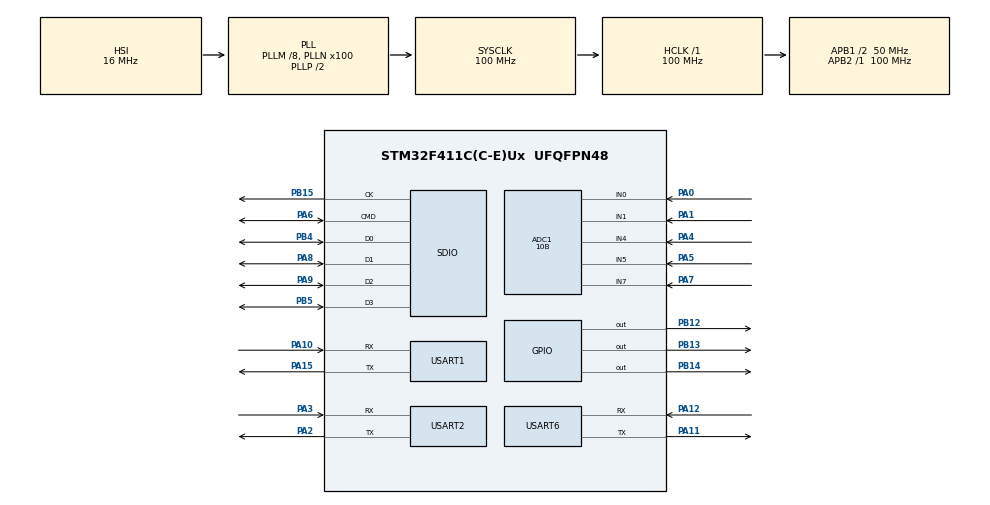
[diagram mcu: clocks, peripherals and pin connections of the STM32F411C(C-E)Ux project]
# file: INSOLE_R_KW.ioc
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ADC1.Channel-10\#ChannelRegularConversion=ADC_CHANNEL_1
ADC1.Channel-12\#ChannelRegularConversion=ADC_CHANNEL_4
ADC1.Channel-13\#ChannelRegularConversion=ADC_CHANNEL_5
ADC1.Channel-14\#ChannelRegularConversion=ADC_CHANNEL_7
ADC1.Channel-5\#ChannelRegularConversion=ADC_CHANNEL_0
ADC1.ContinuousConvMode=ENABLE
ADC1.DMAContinuousRequests=ENABLE
ADC1.InjNumberOfConversion=0
ADC1.NbrOfConversion=5
ADC1.NbrOfConversionFlag=1
ADC1.Rank-10\#ChannelRegularConversion=2
ADC1.Rank-12\#ChannelRegularConversion=3
ADC1.Rank-13\#ChannelRegularConversion=4
ADC1.Rank-14\#ChannelRegularConversion=5
ADC1.Rank-5\#ChannelRegularConversion=1
ADC1.Resolution=ADC_RESOLUTION_10B
ADC1.SamplingTime-10\#ChannelRegularConversion=ADC_SAMPLETIME_112CYCLES
ADC1.SamplingTime-12\#ChannelRegularConversion=ADC_SAMPLETIME_112CYCLES
ADC1.SamplingTime-13\#ChannelRegularConversion=ADC_SAMPLETIME_112CYCLES
ADC1.SamplingTime-14\#ChannelRegularConversion=ADC_SAMPLETIME_112CYCLES
ADC1.SamplingTime-5\#ChannelRegularConversion=ADC_SAMPLETIME_112CYCLES
ADC1.master=1
Dma.ADC1.0.Direction=DMA_PERIPH_TO_MEMORY
Dma.ADC1.0.FIFOMode=DMA_FIFOMODE_DISABLE
Dma.ADC1.0.Instance=DMA2_Stream0
Dma.ADC1.0.MemDataAlignment=DMA_MDATAALIGN_HALFWORD
Dma.ADC1.0.MemInc=DMA_MINC_ENABLE
Dma.ADC1.0.Mode=DMA_CIRCULAR
Dma.ADC1.0.PeriphDataAlignment=DMA_PDATAALIGN_HALFWORD
Dma.ADC1.0.PeriphInc=DMA_PINC_DISABLE
Dma.ADC1.0.Priority=DMA_PRIORITY_LOW
Dma.Request0=ADC1
Dma.Request1=SDIO_RX
Dma.Request2=SDIO_TX
Dma.Request3=USART2_RX
Dma.SDIO_RX.1.Direction=DMA_PERIPH_TO_MEMORY
Dma.SDIO_RX.1.FIFOMode=DMA_FIFOMODE_ENABLE
Dma.SDIO_RX.1.FIFOThreshold=DMA_FIFO_THRESHOLD_FULL
Dma.SDIO_RX.1.Instance=DMA2_Stream3
Dma.SDIO_RX.1.MemBurst=DMA_MBURST_INC4
Dma.SDIO_RX.1.MemDataAlignment=DMA_MDATAALIGN_WORD
Dma.SDIO_RX.1.MemInc=DMA_MINC_ENABLE
Dma.SDIO_RX.1.Mode=DMA_PFCTRL
Dma.SDIO_RX.1.PeriphBurst=DMA_PBURST_INC4
Dma.SDIO_RX.1.PeriphDataAlignment=DMA_PDATAALIGN_WORD
Dma.SDIO_RX.1.PeriphInc=DMA_PINC_DISABLE
Dma.SDIO_RX.1.Priority=DMA_PRIORITY_LOW
Dma.SDIO_TX.2.Direction=DMA_MEMORY_TO_PERIPH
Dma.SDIO_TX.2.FIFOMode=DMA_FIFOMODE_ENABLE
Dma.SDIO_TX.2.FIFOThreshold=DMA_FIFO_THRESHOLD_FULL
Dma.SDIO_TX.2.Instance=DMA2_Stream6
Dma.SDIO_TX.2.MemBurst=DMA_MBURST_INC4
Dma.SDIO_TX.2.MemDataAlignment=DMA_MDATAALIGN_WORD
Dma.SDIO_TX.2.MemInc=DMA_MINC_ENABLE
Dma.SDIO_TX.2.Mode=DMA_PFCTRL
Dma.SDIO_TX.2.PeriphBurst=DMA_PBURST_INC4
Dma.SDIO_TX.2.PeriphDataAlignment=DMA_PDATAALIGN_WORD
Dma.SDIO_TX.2.PeriphInc=DMA_PINC_DISABLE
Dma.SDIO_TX.2.Priority=DMA_PRIORITY_LOW
Dma.USART2_RX.3.Direction=DMA_PERIPH_TO_MEMORY
Dma.USART2_RX.3.FIFOMode=DMA_FIFOMODE_DISABLE
Dma.USART2_RX.3.Instance=DMA1_Stream5
Dma.USART2_RX.3.MemDataAlignment=DMA_MDATAALIGN_BYTE
Dma.USART2_RX.3.MemInc=DMA_MINC_ENABLE
Dma.USART2_RX.3.Mode=DMA_CIRCULAR
Dma.USART2_RX.3.PeriphDataAlignment=DMA_PDATAALIGN_BYTE
Dma.USART2_RX.3.PeriphInc=DMA_PINC_DISABLE
Dma.USART2_RX.3.Priority=DMA_PRIORITY_LOW
FATFS._MAX_SS=4096
FREERTOS.Tasks01=defaultTask,0,128,StartDefaultTask,Default,NULL
FREERTOS.configTICK_RATE_HZ=1000
Mcu.Family=STM32F4
Mcu.Name=STM32F411C(C-E)Ux
Mcu.Package=UFQFPN48
NVIC.DMA1_Stream5_IRQn=true\:5\:0\:false\:false\:true\:true\:false\:true
NVIC.DMA2_Stream0_IRQn=true\:5\:0\:false\:false\:true\:true\:false\:true
NVIC.DMA2_Stream3_IRQn=true\:5\:0\:false\:false\:true\:true\:false\:true
NVIC.DMA2_Stream6_IRQn=true\:5\:0\:false\:false\:true\:true\:false\:true
NVIC.PriorityGroup=NVIC_PRIORITYGROUP_4
NVIC.SDIO_IRQn=true\:5\:0\:false\:false\:true\:true\:true\:true
NVIC.TIM4_IRQn=true\:5\:0\:false\:false\:true\:true\:true\:true
NVIC.TIM5_IRQn=true\:0\:0\:false\:false\:true\:false\:false\:true
NVIC.TimeBase=TIM5_IRQn
NVIC.TimeBaseIP=TIM5
NVIC.USART1_IRQn=true\:5\:0\:false\:false\:true\:true\:true\:true
NVIC.USART2_IRQn=true\:5\:0\:false\:false\:true\:true\:true\:true
PA0-WKUP.Signal=ADCx_IN0
PA1.Signal=ADCx_IN1
PA10.Mode=Asynchronous
PA10.Signal=USART1_RX
PA11.Mode=Asynchronous
PA11.Signal=USART6_TX
PA12.Mode=Asynchronous
PA12.Signal=USART6_RX
PA15.Mode=Asynchronous
PA15.Signal=USART1_TX
PA2.Mode=Asynchronous
PA2.Signal=USART2_TX
PA3.Mode=Asynchronous
PA3.Signal=USART2_RX
PA4.Signal=ADCx_IN4
PA5.Signal=ADCx_IN5
PA6.GPIO_PuPd=GPIO_PULLUP
PA6.Mode=SD_4_bits_Wide_bus
PA6.Signal=SDIO_CMD
PA7.Signal=ADCx_IN7
PA8.GPIO_PuPd=GPIO_PULLUP
PA8.Mode=SD_4_bits_Wide_bus
PA8.Signal=SDIO_D1
PA9.GPIO_PuPd=GPIO_PULLUP
PA9.Mode=SD_4_bits_Wide_bus
PA9.Signal=SDIO_D2
PB12.Signal=GPIO_Output
PB13.Signal=GPIO_Output
PB14.Signal=GPIO_Output
PB15.Mode=SD_4_bits_Wide_bus
PB15.Signal=SDIO_CK
PB4.GPIO_PuPd=GPIO_PULLUP
PB4.Mode=SD_4_bits_Wide_bus
PB4.Signal=SDIO_D0
PB5.GPIO_PuPd=GPIO_PULLUP
PB5.Mode=SD_4_bits_Wide_bus
PB5.Signal=SDIO_D3
ProjectManager.HeapSize=0x2000
ProjectManager.StackSize=0x4000
ProjectManager.TargetToolchain=MDK-ARM V5
RCC.48MHZClocksFreq_Value=40000000
RCC.AHBFreq_Value=100000000
RCC.APB1CLKDivider=RCC_HCLK_DIV2
RCC.APB1Freq_Value=50000000
RCC.APB1TimFreq_Value=100000000
RCC.APB2Freq_Value=100000000
RCC.APB2TimFreq_Value=100000000
RCC.CortexFreq_Value=100000000
RCC.HCLKFreq_Value=100000000
RCC.HSE_VALUE=8000000
RCC.HSI_VALUE=16000000
RCC.LSE_VALUE=32768
RCC.PLLM=8
RCC.PLLN=100
RCC.PLLQ=5
RCC.SYSCLKFreq_VALUE=100000000
RCC.SYSCLKSource=RCC_SYSCLKSOURCE_PLLCLK
RCC.VCOOutputFreq_Value=200000000
SDIO.ClockDiv=3
SH.ADCx_IN0.0=ADC1_IN0,IN0
SH.ADCx_IN1.0=ADC1_IN1,IN1
SH.ADCx_IN4.0=ADC1_IN4,IN4
SH.ADCx_IN5.0=ADC1_IN5,IN5
SH.ADCx_IN7.0=ADC1_IN7,IN7
TIM4.Period=100-1
TIM4.Prescaler=1000-1
TIM4.TIM_MasterOutputTrigger=TIM_TRGO_UPDATE
USART1.VirtualMode=VM_ASYNC
USART2.VirtualMode=VM_ASYNC
USART6.VirtualMode=VM_ASYNC
VP_CRC_VS_CRC.Mode=CRC_Activate
VP_FATFS_VS_SDIO.Mode=SDIO
VP_FREERTOS_VS_CMSIS_V1.Mode=CMSIS_V1
VP_SYS_VS_tim5.Mode=TIM5
VP_TIM4_VS_ClockSourceINT.Mode=Internal
board=custom

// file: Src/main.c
/* USER CODE BEGIN Header */
/*Definition in INSOLE_R_KR
DATASET :
INSOLE_L : 10BYTE(FSR) + 4BYTE(ST/ED) + 2BYTE(CRC) = 16BYTE
INSOLE_R : 20BYTE(FSR) + 4BYTE(ST/ED) + 2BYTE(CRC)= 26BYTE
IMU 		 : 20BYTE(FSR) + 18BYTE(IMU) + 4BYTE(ST/ED) + 2BYTE(CRC) = 44BYTE
*/
/**
  ******************************************************************************
  * @file           : main.c
  * @brief          : Main program body
  ******************************************************************************
  * @attention
  *
  * <h2><center>&copy; Copyright (c) 2020 STMicroelectronics.
  * All rights reserved.</center></h2>
  *
  * This software component is licensed by ST under Ultimate Liberty license
  * SLA0044, the "License"; You may not use this file except in compliance with
  * the License. You may obtain a copy of the License at:
  *                             www.st.com/SLA0044
  *
  ******************************************************************************
  */
/* USER CODE END Header */

#include "main.h"
#include "cmsis_os.h"
#include "fatfs.h"

/* USER CODE BEGIN Includes */
#include <stdio.h>
#include <string.h>
#include <stdbool.h>
/* USER CODE END Includes */

ADC_HandleTypeDef hadc1;
DMA_HandleTypeDef hdma_adc1;

CRC_HandleTypeDef hcrc;

SD_HandleTypeDef hsd;
DMA_HandleTypeDef hdma_sdio_rx;
DMA_HandleTypeDef hdma_sdio_tx;

TIM_HandleTypeDef htim4;

UART_HandleTypeDef huart1;
UART_HandleTypeDef huart2;
UART_HandleTypeDef huart6;
DMA_HandleTypeDef hdma_usart2_rx;

osThreadId defaultTaskHandle;

void SystemClock_Config(void);
static void MX_GPIO_Init(void);
static void MX_DMA_Init(void);
static void MX_ADC1_Init(void);
static void MX_USART1_UART_Init(void);
static void MX_USART2_UART_Init(void);
static void MX_CRC_Init(void);
static void MX_SDIO_SD_Init(void);
static void MX_TIM4_Init(void);
static void MX_USART6_UART_Init(void);
void StartDefaultTask(void const * argument);
void wdg_activate();

/* USER CODE BEGIN 0 */
	//Communication buffers
	//DMA comm
	bool dma_connect = false;
	bool data_received_dma = true;

	uint8_t txdata[26];
	uint8_t rxBuf_[16] = {0};
	uint8_t rxBuf_crc[16] = {0};
	uint8_t rxBuf_ino[12] = {0}; //stx(*)  + left(4), right(4), rxpower(2) + etx(;)

	//Inturrupt comm
	uint8_t buff_index = 0;
	bool received_flag = false;
	bool received_end = false;

	//UWB comm
	uint8_t uwb_data[256] = {0,};

	//ADC DMA
	uint16_t adcValArray[5] = {0,};

	//crc
	uint32_t crcArray[8] = {0,}; // crc for save
	uint32_t crcArray_send[9] = {0,}; // crc for send
	uint16_t crcval = 0; // calculate crc data for test

	//buff calcualtion
	uint16_t cal_val = 0;
	uint16_t receive_val =0;

	//SD card variables
	extern char SDPath[4];   /* SD logical drive path */
	extern FATFS SDFatFS;    /* File system object for SD logical drive */
	extern FIL SDFile;       /* File object for SD */

	//FILE I/O operation
	FRESULT res;                                          /* FatFs function common result code */
	uint32_t byteswritten, bytesread;                     /* File write/read counts */
	uint8_t wtext[] = "Hello from kyeum test"; 			      /* File write start buffer */
	uint8_t rtext[100];                                   /* File read buffer */

	FATFS myFATAS;
	FIL myFILE;
	UINT testByte; 										  // error detection
	bool datasave_flg = true;
	bool ongoing_flg = false;

	//Timer
	bool _10ms_flg = false;
	bool _5ms_flg = false;
	bool _1000ms_flg = false;

	uint16_t ms_tmr = 0;
	uint16_t _100ms_tmr = 0;
	uint16_t ms_sv_tmr = 0;

	//wdg cnt
	uint8_t wdg_cnt = 0;
	uint8_t wdg_tmr = 0;

	//test val
	uint16_t test_val = 0;
	uint8_t k = 0;

/* USER CODE END 0 */

int main(void)

{

  /* MCU Configuration--------------------------------------------------------*/

  /* Reset of all peripherals, Initializes the Flash interface and the Systick. */
  HAL_Init();

  /* Configure the system clock */
  SystemClock_Config();

  /* Initialize all configured peripherals */
  MX_GPIO_Init();
  MX_DMA_Init();
  MX_ADC1_Init();
  MX_USART1_UART_Init();
  MX_USART2_UART_Init();
  MX_CRC_Init();
  MX_SDIO_SD_Init();
  MX_TIM4_Init();
  MX_USART6_UART_Init();
  /* USER CODE BEGIN 2 */

  HAL_UART_Receive_DMA(&huart2, (uint8_t *)rxBuf_crc, 16); //interrupt mode only in the mcu data
  HAL_UART_Receive_IT(&huart6, (uint8_t *)rxBuf_ino, 12); //interrupt mode for arduino

  HAL_ADC_Start_DMA(&hadc1,(uint32_t *)adcValArray, 5);
  HAL_TIM_Base_Start_IT(&htim4);
  /* USER CODE END 2 */

  /* Create the thread(s) */
  /* definition and creation of defaultTask */
  osThreadDef(defaultTask, StartDefaultTask, osPriorityRealtime, 0, 128);
  defaultTaskHandle = osThreadCreate(osThread(defaultTask), NULL);

  /* Start scheduler */
  osKernelStart();

  /* We should never get here as control is now taken by the scheduler */

  /* Infinite loop */
  while (1)
  {

  }
}

void SystemClock_Config(void)
{
  RCC_OscInitTypeDef RCC_OscInitStruct = {0};
  RCC_ClkInitTypeDef RCC_ClkInitStruct = {0};

  /** Configure the main internal regulator output voltage
  */
  __HAL_RCC_PWR_CLK_ENABLE();
  __HAL_PWR_VOLTAGESCALING_CONFIG(PWR_REGULATOR_VOLTAGE_SCALE1);
  /** Initializes the CPU, AHB and APB busses clocks
  */
  RCC_OscInitStruct.OscillatorType = RCC_OSCILLATORTYPE_HSI;
  RCC_OscInitStruct.HSIState = RCC_HSI_ON;
  RCC_OscInitStruct.HSICalibrationValue = RCC_HSICALIBRATION_DEFAULT;
  RCC_OscInitStruct.PLL.PLLState = RCC_PLL_ON;
  RCC_OscInitStruct.PLL.PLLSource = RCC_PLLSOURCE_HSI;
  RCC_OscInitStruct.PLL.PLLM = 8;
  RCC_OscInitStruct.PLL.PLLN = 100;
  RCC_OscInitStruct.PLL.PLLP = RCC_PLLP_DIV2;
  RCC_OscInitStruct.PLL.PLLQ = 5;
  if (HAL_RCC_OscConfig(&RCC_OscInitStruct) != HAL_OK)
  {
    Error_Handler();
  }
  /** Initializes the CPU, AHB and APB busses clocks
  */
  RCC_ClkInitStruct.ClockType = RCC_CLOCKTYPE_HCLK|RCC_CLOCKTYPE_SYSCLK
                              |RCC_CLOCKTYPE_PCLK1|RCC_CLOCKTYPE_PCLK2;
  RCC_ClkInitStruct.SYSCLKSource = RCC_SYSCLKSOURCE_PLLCLK;
  RCC_ClkInitStruct.AHBCLKDivider = RCC_SYSCLK_DIV1;
  RCC_ClkInitStruct.APB1CLKDivider = RCC_HCLK_DIV2;
  RCC_ClkInitStruct.APB2CLKDivider = RCC_HCLK_DIV1;

  if (HAL_RCC_ClockConfig(&RCC_ClkInitStruct, FLASH_LATENCY_3) != HAL_OK)
  {
    Error_Handler();
  }
}

static void MX_ADC1_Init(void)
{

  ADC_ChannelConfTypeDef sConfig = {0};

  /** Configure the global features of the ADC (Clock, Resolution, Data Alignment and number of conversion)
  */
  hadc1.Instance = ADC1;
  hadc1.Init.ClockPrescaler = ADC_CLOCK_SYNC_PCLK_DIV4;
  hadc1.Init.Resolution = ADC_RESOLUTION_10B;
  hadc1.Init.ScanConvMode = ENABLE;
  hadc1.Init.ContinuousConvMode = ENABLE;
  hadc1.Init.DiscontinuousConvMode = DISABLE;
  hadc1.Init.ExternalTrigConvEdge = ADC_EXTERNALTRIGCONVEDGE_NONE;
  hadc1.Init.ExternalTrigConv = ADC_SOFTWARE_START;
  hadc1.Init.DataAlign = ADC_DATAALIGN_RIGHT;
  hadc1.Init.NbrOfConversion = 5;
  hadc1.Init.DMAContinuousRequests = ENABLE;
  hadc1.Init.EOCSelection = ADC_EOC_SINGLE_CONV;
  if (HAL_ADC_Init(&hadc1) != HAL_OK)
  {
    Error_Handler();
  }
  /** Configure for the selected ADC regular channel its corresponding rank in the sequencer and its sample time.
  */
  sConfig.Channel = ADC_CHANNEL_0;
  sConfig.Rank = 1;
  sConfig.SamplingTime = ADC_SAMPLETIME_480CYCLES;
  if (HAL_ADC_ConfigChannel(&hadc1, &sConfig) != HAL_OK)
  {
    Error_Handler();
  }
  /** Configure for the selected ADC regular channel its corresponding rank in the sequencer and its sample time.
  */
  sConfig.Channel = ADC_CHANNEL_1;
  sConfig.Rank = 2;
  if (HAL_ADC_ConfigChannel(&hadc1, &sConfig) != HAL_OK)
  {
    Error_Handler();
  }
  /** Configure for the selected ADC regular channel its corresponding rank in the sequencer and its sample time.
  */
  sConfig.Channel = ADC_CHANNEL_4;
  sConfig.Rank = 3;
  if (HAL_ADC_ConfigChannel(&hadc1, &sConfig) != HAL_OK)
  {
    Error_Handler();
  }
  /** Configure for the selected ADC regular channel its corresponding rank in the sequencer and its sample time.
  */
  sConfig.Channel = ADC_CHANNEL_5;
  sConfig.Rank = 4;
  if (HAL_ADC_ConfigChannel(&hadc1, &sConfig) != HAL_OK)
  {
    Error_Handler();
  }
  /** Configure for the selected ADC regular channel its corresponding rank in the sequencer and its sample time.
  */
  sConfig.Channel = ADC_CHANNEL_7;
  sConfig.Rank = 5;
  if (HAL_ADC_ConfigChannel(&hadc1, &sConfig) != HAL_OK)
  {
    Error_Handler();
  }

}

static void MX_CRC_Init(void)
{

  hcrc.Instance = CRC;
  if (HAL_CRC_Init(&hcrc) != HAL_OK)
  {
    Error_Handler();
  }

}

static void MX_SDIO_SD_Init(void)
{

  hsd.Instance = SDIO;
  hsd.Init.ClockEdge = SDIO_CLOCK_EDGE_RISING;
  hsd.Init.ClockBypass = SDIO_CLOCK_BYPASS_DISABLE;
  hsd.Init.ClockPowerSave = SDIO_CLOCK_POWER_SAVE_DISABLE;
  hsd.Init.BusWide = SDIO_BUS_WIDE_1B;
  hsd.Init.HardwareFlowControl = SDIO_HARDWARE_FLOW_CONTROL_DISABLE;
  hsd.Init.ClockDiv = 3;

}

static void MX_TIM4_Init(void)
{

  TIM_ClockConfigTypeDef sClockSourceConfig = {0};
  TIM_MasterConfigTypeDef sMasterConfig = {0};

  htim4.Instance = TIM4;
  htim4.Init.Prescaler = 1000-1;
  htim4.Init.CounterMode = TIM_COUNTERMODE_UP;
  htim4.Init.Period = 100-1;
  htim4.Init.ClockDivision = TIM_CLOCKDIVISION_DIV1;
  htim4.Init.AutoReloadPreload = TIM_AUTORELOAD_PRELOAD_DISABLE;
  if (HAL_TIM_Base_Init(&htim4) != HAL_OK)
  {
    Error_Handler();
  }
  sClockSourceConfig.ClockSource = TIM_CLOCKSOURCE_INTERNAL;
  if (HAL_TIM_ConfigClockSource(&htim4, &sClockSourceConfig) != HAL_OK)
  {
    Error_Handler();
  }
  sMasterConfig.MasterOutputTrigger = TIM_TRGO_UPDATE;
  sMasterConfig.MasterSlaveMode = TIM_MASTERSLAVEMODE_DISABLE;
  if (HAL_TIMEx_MasterConfigSynchronization(&htim4, &sMasterConfig) != HAL_OK)
  {
    Error_Handler();
  }

}

static void MX_USART1_UART_Init(void)
{

  huart1.Instance = USART1;
  huart1.Init.BaudRate = 115200;
  huart1.Init.WordLength = UART_WORDLENGTH_8B;
  huart1.Init.StopBits = UART_STOPBITS_1;
  huart1.Init.Parity = UART_PARITY_NONE;
  huart1.Init.Mode = UART_MODE_TX_RX;
  huart1.Init.HwFlowCtl = UART_HWCONTROL_NONE;
  huart1.Init.OverSampling = UART_OVERSAMPLING_16;
  if (HAL_UART_Init(&huart1) != HAL_OK)
  {
    Error_Handler();
  }

}

static void MX_USART2_UART_Init(void)
{

  huart2.Instance = USART2;
  huart2.Init.BaudRate = 115200;
  huart2.Init.WordLength = UART_WORDLENGTH_8B;
  huart2.Init.StopBits = UART_STOPBITS_1;
  huart2.Init.Parity = UART_PARITY_NONE;
  huart2.Init.Mode = UART_MODE_TX_RX;
  huart2.Init.HwFlowCtl = UART_HWCONTROL_NONE;
  huart2.Init.OverSampling = UART_OVERSAMPLING_16;
  if (HAL_UART_Init(&huart2) != HAL_OK)
  {
    Error_Handler();
  }

}

static void MX_USART6_UART_Init(void)
{

  huart6.Instance = USART6;
  huart6.Init.BaudRate = 115200;
  huart6.Init.WordLength = UART_WORDLENGTH_8B;
  huart6.Init.StopBits = UART_STOPBITS_1;
  huart6.Init.Parity = UART_PARITY_NONE;
  huart6.Init.Mode = UART_MODE_TX_RX;
  huart6.Init.HwFlowCtl = UART_HWCONTROL_NONE;
  huart6.Init.OverSampling = UART_OVERSAMPLING_16;
  if (HAL_UART_Init(&huart6) != HAL_OK)
  {
    Error_Handler();
  }

}

static void MX_DMA_Init(void)
{

  /* DMA controller clock enable */
  __HAL_RCC_DMA2_CLK_ENABLE();
  __HAL_RCC_DMA1_CLK_ENABLE();

  /* DMA interrupt init */
  /* DMA1_Stream5_IRQn interrupt configuration */
  HAL_NVIC_SetPriority(DMA1_Stream5_IRQn, 5, 0);
  HAL_NVIC_EnableIRQ(DMA1_Stream5_IRQn);
  /* DMA2_Stream0_IRQn interrupt configuration */
  HAL_NVIC_SetPriority(DMA2_Stream0_IRQn, 5, 0);
  HAL_NVIC_EnableIRQ(DMA2_Stream0_IRQn);
  /* DMA2_Stream3_IRQn interrupt configuration */
  HAL_NVIC_SetPriority(DMA2_Stream3_IRQn, 5, 0);
  HAL_NVIC_EnableIRQ(DMA2_Stream3_IRQn);
  /* DMA2_Stream6_IRQn interrupt configuration */
  HAL_NVIC_SetPriority(DMA2_Stream6_IRQn, 5, 0);
  HAL_NVIC_EnableIRQ(DMA2_Stream6_IRQn);

}

static void MX_GPIO_Init(void)
{
  GPIO_InitTypeDef GPIO_InitStruct = {0};

  /* GPIO Ports Clock Enable */
  __HAL_RCC_GPIOA_CLK_ENABLE();
  __HAL_RCC_GPIOB_CLK_ENABLE();

  /*Configure GPIO pin Output Level */
  HAL_GPIO_WritePin(GPIOB, GPIO_PIN_12|GPIO_PIN_13|GPIO_PIN_14, GPIO_PIN_RESET);

  /*Configure GPIO pins : PB12 PB13 PB14 */
  GPIO_InitStruct.Pin = GPIO_PIN_12|GPIO_PIN_13|GPIO_PIN_14;
  GPIO_InitStruct.Mode = GPIO_MODE_OUTPUT_PP;
  GPIO_InitStruct.Pull = GPIO_NOPULL;
  GPIO_InitStruct.Speed = GPIO_SPEED_FREQ_LOW;
  HAL_GPIO_Init(GPIOB, &GPIO_InitStruct);

}

/* USER CODE BEGIN 4 */

 void HAL_UART_RxCpltCallback(UART_HandleTypeDef *huart)
{
  /* Prevent unused argument(s) compilation warning */
  /* NOTE: This function should not be modified, when the callback is needed,
           the HAL_UART_RxCpltCallback could be implemented in the user file
  */
		//from
		if(huart->Instance == USART2){
				HAL_GPIO_TogglePin(GPIOB, GPIO_PIN_12);
				if(rxBuf_crc[0] == 0xFF && rxBuf_crc[1] == 0xFF){
					received_flag = true;
					dma_connect = true;
					memcpy(&rxBuf_[0], &rxBuf_crc[0], 16 );
				}
				else
				{
					received_flag = false;
					dma_connect = false;
					HAL_DMA_Abort(&hdma_usart2_rx);
				}
				test_val++;
		}
		//from pc
		if(huart->Instance == USART1){
			//received search : start - start ?
			uint8_t txdata[30] = {0,};
			HAL_UART_Transmit_IT(&huart2,txdata,30);
		}
			// from arduino
		if(huart->Instance == USART6){

			//memcpy(rxBuf_ino, tmp_txdata);

			//uint8_t recp_txdata[1];
			//recp_txdata[0] = ';';
			//HAL_UART_Transmit_IT(&huart6,recp_txdata,1);
			HAL_UART_Receive_IT(&huart6, (uint8_t *)rxBuf_ino, 12); //interrupt mode for arduino
		}
}

void HAL_UART_TxCpltCallback(UART_HandleTypeDef *huart)
{
  /* Prevent unused argument(s) compilation warning */
	if(huart->Instance == USART2){

	}
	/* NOTE: This function should not be modified, when the callback is needed,
           the HAL_UART_TxCpltCallback could be implemented in the user file
	*/
}

void wdg_activate(){
	HAL_NVIC_SystemReset();
}

/* USER CODE END 4 */

void StartDefaultTask(void const * argument)
{

  /* init code for FATFS */
  MX_FATFS_Init();

  /* USER CODE BEGIN 5 */
	//sd
	f_mount(&SDFatFS, (TCHAR const*)SDPath, 1);

	if(f_open(&SDFile, "test.txt", FA_CREATE_ALWAYS | FA_WRITE )== FR_OK){
		HAL_GPIO_TogglePin(GPIOB,GPIO_PIN_14);
		osDelay(500);
		HAL_GPIO_TogglePin(GPIOB,GPIO_PIN_14);
		osDelay(500);
		HAL_GPIO_TogglePin(GPIOB,GPIO_PIN_14);
		osDelay(500);
		HAL_GPIO_TogglePin(GPIOB,GPIO_PIN_14);
	}
	else{
		HAL_GPIO_TogglePin(GPIOB,GPIO_PIN_14);
		osDelay(2000);
		HAL_GPIO_TogglePin(GPIOB,GPIO_PIN_14);
		osDelay(2000);
		HAL_GPIO_TogglePin(GPIOB,GPIO_PIN_14);
		osDelay(2000);
		HAL_GPIO_TogglePin(GPIOB,GPIO_PIN_14);
		}
//
  /* Infinite loop */
  for(;;)
  {
	  if(_5ms_flg){
		_5ms_flg = false;

		txdata[0] = 0xFF;
		txdata[1] = 0xFF;
		//Right leg insole
		for(int i =0; i<5; i++){ // right / left -- insole + Imu dataset :
		char a = i*2;
		txdata[2+a] = adcValArray[i] >> 8;  //hi
		txdata[3+a] = adcValArray[i] & 0xFF;//lo
		}
		//Left leg insole from usart

		if(received_flag) {
		received_flag = false;
		uint8_t cprxBuf[16];
		memcpy(&cprxBuf[0], &rxBuf_[0], sizeof(uint8_t)*16);

		memset(crcArray,0,8*sizeof(crcArray[0]));
		memmove(&crcArray[0], &cprxBuf[2], sizeof(uint8_t)*10);
			char crc_begin = 12; //MLSB
			char crc_end = 13;   //LLSB
			receive_val = (int16_t)(((int16_t)cprxBuf[crc_begin] << 8) | cprxBuf[crc_end]);
			cal_val = (HAL_CRC_Calculate(&hcrc,crcArray,3)&0xffff);
			if(cal_val == receive_val)
			{
				memmove(&txdata[12], &cprxBuf[2], sizeof(uint8_t)*10);
			}
			else if( cal_val != receive_val)
			{
 				wdg_cnt ++;
				continue;
			}
		}

		// Imu_databuff  -> 32uart data set
		memset(crcArray_send,0,9*sizeof(crcArray_send[0]));
		memcpy(&crcArray_send[0], &txdata[2] , 20);
		crcval = HAL_CRC_Calculate(&hcrc,crcArray_send,5)& 0xffff;

		txdata[22] = crcval >> 8;
		txdata[23] = crcval & 0xff;
		txdata[24] = 0xFF;
		txdata[25] = 0xFE;

		//	DATA SAVE TO LEFT LEG
			//5ms data save
			if(datasave_flg){
			for(int i =0; i<26; i++) {
			f_printf(&SDFile, "%02x", txdata[i]);
			}
			f_printf(&SDFile, "\n");
			}
			else
			{
			f_close(&SDFile);
			}
			// received data from pc

			if(ongoing_flg){ // watchdog timer 100ms check timeout
				ongoing_flg = false;
				wdg_tmr ++;
				if(wdg_tmr%10 == 0) HAL_GPIO_TogglePin(GPIOB,GPIO_PIN_13);
				if(!dma_connect) HAL_UART_Receive_DMA(&huart2, (uint8_t *)rxBuf_crc, 16); //interrupt mode only in the mcu data
			}
			HAL_UART_Transmit_IT(&huart1,txdata,26); //
		}
//	TRANSMIT DATA TO LEFT LEG
	}
  /* USER CODE END 5 */
}

void HAL_TIM_PeriodElapsedCallback(TIM_HandleTypeDef *htim)
{
  if (htim->Instance == TIM5) {
    HAL_IncTick();
  }
  /* USER CODE BEGIN Callback 1 */
 	if(htim ->Instance  == TIM4){
		ms_tmr ++;
		_100ms_tmr++;
		ms_sv_tmr++;

 		if(ms_tmr % 5 == 0){
			_5ms_flg = true;
			ms_tmr = 0;
		}
		if(_100ms_tmr % 100 == 0){ // watchdog tmr
			ongoing_flg = true;
			_100ms_tmr = 0;
		}

		if(ms_sv_tmr % 10000 == 0){ // 10sec later - data save -> will change mode in the pc data
			datasave_flg = false;
			ms_sv_tmr = 0;
		}
	}
  /* USER CODE END Callback 1 */
}

void Error_Handler(void)
{
}

/************************ (C) COPYRIGHT STMicroelectronics *****END OF FILE****/
